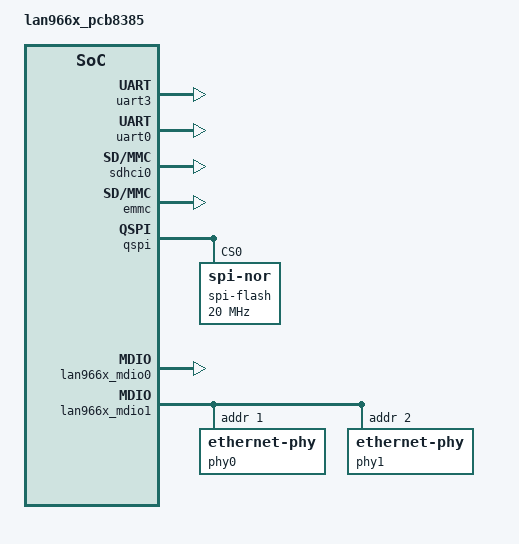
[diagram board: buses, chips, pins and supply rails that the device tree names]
/dts-v1/;
#include "lan966x.dtsi"

/ {
	model = "lan966x_pcb8385";

	chosen {
		stdout-path = &uart3;
	};

	ahb {
		apb {
			uart3: serial@e0064200 {
				status = "okay";
			};

			uart0: serial@e0040200 {
				status = "okay";
			};

			sdhci0: sdhci-host@e0830000 {
				status = "okay";
			};

			emmc: emmc@e0830000 {
				status = "okay";
			};

			qspi: qspi@e0834000 {
				status = "okay";

				spi-flash@0 {
					status = "okay";
					compatible = "jedec,spi-nor";
					reg = <0>;
					spi-max-frequency = <20000000>;
				};
			};

			lan966x_mdio0: mdio@4118 {
				status = "okay";

				pinctrl-0 = <&miim_a_pins>;
				pinctrl-names = "default";
			};

			lan966x_mdio1: mdio@413c {
				status = "okay";

				phy0: ethernet-phy@0 {
					reg = <1>;
				};
				phy1: ethernet-phy@1 {
					reg = <2>;
				};
			};

			lan966x_switch: switch@0 {
				status = "okay";

				ethernet-ports {
					port0: port@0 {
						reg = <0>;
						phy-handle = <&phy0>;
						phy-mode = "gmii";
					};

					port1: port@1 {
						reg = <1>;
						phy-handle = <&phy1>;
						phy-mode = "gmii";
					};
				};
			};
		};
	};
};
